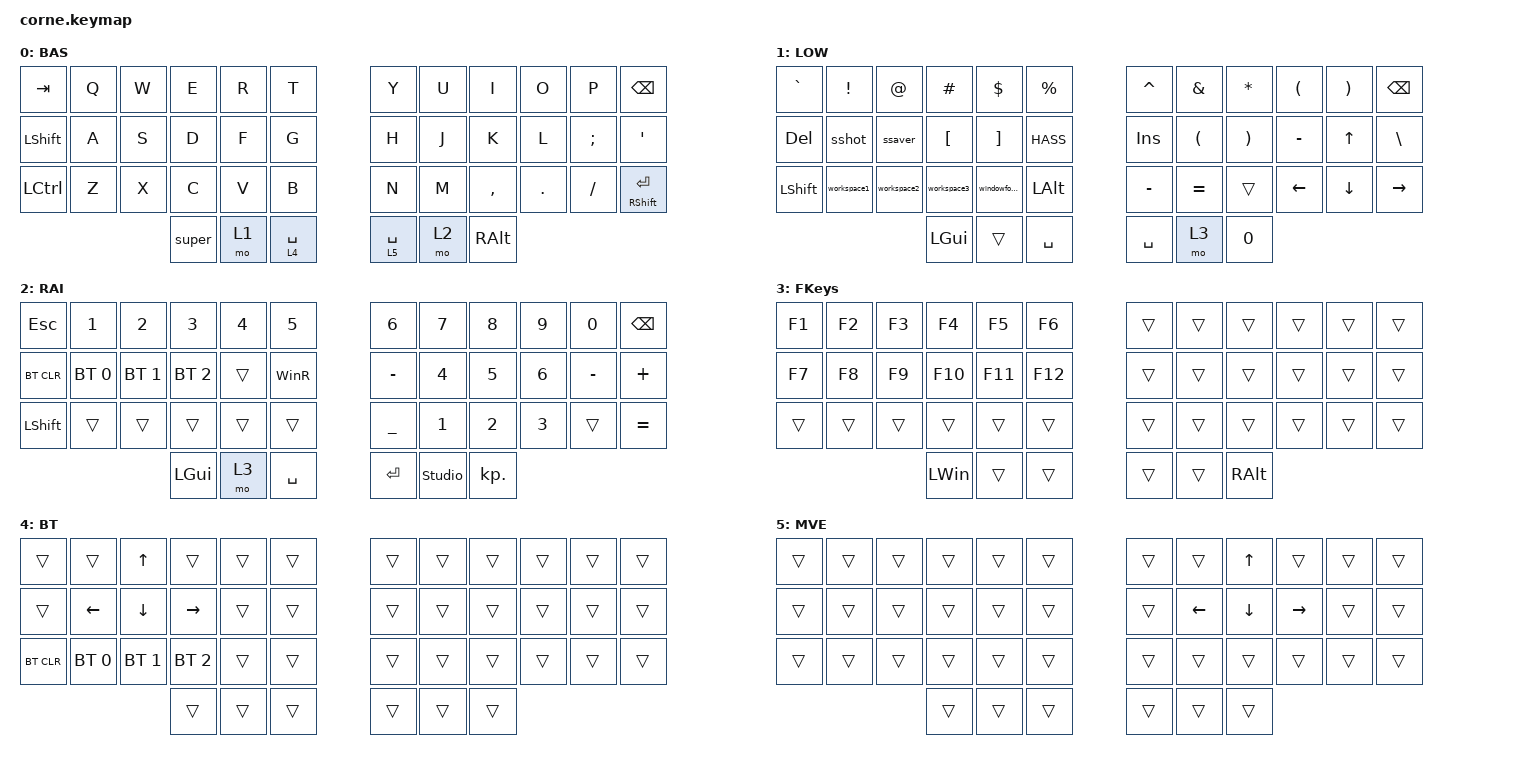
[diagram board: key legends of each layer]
/*
 * Copyright (c) 2020 The ZMK Contributors
 *
 * SPDX-License-Identifier: MIT
 */

#include <dt-bindings/zmk/reset.h>
#include <behaviors.dtsi>
#include <dt-bindings/zmk/bt.h>
#include <dt-bindings/zmk/keys.h>


/ {
    macros {
        super: super {
            compatible = "zmk,behavior-macro";
            #binding-cells = <0>;
            bindings =
                <&macro_press>,
                <&kp LCTRL &kp RIGHT_ALT>,
                <&macro_tap>,
                <&kp LEFT_BRACKET>,
                <&macro_release>,
                <&kp LCTRL &kp RIGHT_ALT>;

            label = "SUPER";
        };

        ssaver: ss {
            compatible = "zmk,behavior-macro";
            #binding-cells = <0>;
            bindings =
                <&macro_press>,
                <&kp LCTRL &kp RIGHT_ALT>,
                <&macro_tap>,
                <&kp S>,
                <&macro_release>,
                <&kp LCTRL &kp RIGHT_ALT>;

            label = "SS";
        };

        sshot: sshot {
            compatible = "zmk,behavior-macro";
            #binding-cells = <0>;
            bindings =
                <&macro_press>,
                <&kp LEFT_WIN &kp LEFT_SHIFT>,
                <&macro_tap>,
                <&kp S>,
                <&macro_release>,
                <&kp LEFT_WIN &kp LEFT_SHIFT>;

            label = "SSHOT";
        };

        workspace1: workspace1 {
            compatible = "zmk,behavior-macro";
            #binding-cells = <0>;
            bindings =
                <&macro_press>,
                <&kp RIGHT_ALT>,
                <&macro_tap>,
                <&kp NUMBER_1>,
                <&macro_release>,
                <&kp RIGHT_ALT>;

            label = "WORKSPACE1";
        };

        workspace2: workspace2 {
            compatible = "zmk,behavior-macro";
            #binding-cells = <0>;
            bindings =
                <&macro_press>,
                <&kp RIGHT_ALT>,
                <&macro_tap>,
                <&kp NUMBER_2>,
                <&macro_release>,
                <&kp RIGHT_ALT>;

            label = "WORKSPACE2";
        };

        workspace3: workspace3 {
            compatible = "zmk,behavior-macro";
            #binding-cells = <0>;
            bindings =
                <&macro_press>,
                <&kp RIGHT_ALT>,
                <&macro_tap>,
                <&kp NUMBER_3>,
                <&macro_release>,
                <&kp RIGHT_ALT>;

            label = "WORKSPACE3";
        };

        windowfocus: windowfocus {
            compatible = "zmk,behavior-macro";
            #binding-cells = <0>;
            bindings =
                <&macro_press>,
                <&kp RIGHT_ALT>,
                <&macro_tap>,
                <&kp T>,
                <&macro_release>,
                <&kp RIGHT_ALT>;

            label = "WINDOWFOCUS";
        };

        WinR: WinR {
            compatible = "zmk,behavior-macro";
            #binding-cells = <0>;
            bindings =
                <&macro_press>,
                <&kp LEFT_WIN>,
                <&macro_tap>,
                <&kp R>,
                <&macro_release>,
                <&kp LEFT_WIN>;

            label = "WINR";
        };

        HASS: HASS {
            compatible = "zmk,behavior-macro";
            #binding-cells = <0>;
            bindings =
                <&macro_press>,
                <&kp LCTRL &kp LEFT_ALT>,
                <&macro_tap>,
                <&kp X>,
                <&macro_release>,
                <&kp LCTRL &kp LEFT_ALT>;

            label = "HASS";
        };
    };

    keymap {
        compatible = "zmk,keymap";

        default_layer {
            display-name = "BAS";

            // -----------------------------------------------------------------------------------------
            // |  TAB |  Q  |  W  |  E  |  R  |  T  |   |  Y  |  U   |  I  |  O  |  P  | BKSP |
            // | CTRL |  A  |  S  |  D  |  F  |  G  |   |  H  |  J   |  K  |  L  |  ;  |  '   |
            // | SHFT |  Z  |  X  |  C  |  V  |  B  |   |  N  |  M   |  ,  |  .  |  /  | ESC  |
            //                    | GUI | LWR | SPC |   | ENT | RSE  | ALT |

            bindings = <
&kp TAB         &kp Q  &kp W  &kp E   &kp R  &kp T          &kp Y        &kp U  &kp I      &kp O    &kp P     &kp BSPC
&kp LEFT_SHIFT  &kp A  &kp S  &kp D   &kp F  &kp G          &kp H        &kp J  &kp K      &kp L    &kp SEMI  &kp SQT
&kp LCTRL       &kp Z  &kp X  &kp C   &kp V  &kp B          &kp N        &kp M  &kp COMMA  &kp DOT  &kp FSLH  &mt RIGHT_SHIFT ENTER
                              &super  &mo 1  &lt 4 SPACE    &lt 5 SPACE  &mo 2  &kp RALT
            >;
        };

        lower_layer {
            display-name = "LOW";

            // -----------------------------------------------------------------------------------------
            // |  TAB |  1  |  2  |  3  |  4  |  5  |   |  6  |  7  |  8  |  9  |  0  | BKSP |
            // | BTCLR| BT1 | BT2 | BT3 | BT4 | BT5 |   | LFT | DWN |  UP | RGT |     |      |
            // | SHFT |     |     |     |     |     |   |     |     |     |     |     |      |
            //                    | GUI |     | SPC |   | ENT |     | ALT |

            bindings = <
&kp GRAVE   &kp EXCLAMATION  &kp AT       &kp HASH          &kp DOLLAR         &kp PERCENT     &kp CARET   &kp AMPERSAND         &kp ASTERISK           &kp LEFT_PARENTHESIS  &kp RIGHT_PARENTHESIS  &kp BSPC
&kp DELETE  &sshot           &ssaver      &kp LEFT_BRACKET  &kp RIGHT_BRACKET  &HASS           &kp INSERT  &kp LEFT_PARENTHESIS  &kp RIGHT_PARENTHESIS  &kp MINUS             &kp UP_ARROW           &kp BACKSLASH
&kp LSHFT   &workspace1      &workspace2  &workspace3       &windowfocus       &kp LEFT_ALT    &kp MINUS   &kp EQUAL             &trans                 &kp LEFT_ARROW        &kp DOWN_ARROW         &kp RIGHT_ARROW
                                          &kp LGUI          &trans             &kp SPACE       &kp SPACE   &mo 3                 &kp NUMBER_0
            >;
        };

        raise_layer {
            display-name = "RAI";

            // -----------------------------------------------------------------------------------------
            // |  TAB |  !  |  @  |  #  |  $  |  %  |   |  ^  |  &  |  *  |  (  |  )  | BKSP |
            // | CTRL |     |     |     |     |     |   |  -  |  =  |  [  |  ]  |  \  |  `   |
            // | SHFT |     |     |     |     |     |   |  _  |  +  |  {  |  }  | "|" |  ~   |
            //                    | GUI |     | SPC |   | ENT |     | ALT |

            bindings = <
&kp ESCAPE      &kp NUMBER_1  &kp NUMBER_2  &kp NUMBER_3  &kp NUMBER_4  &kp NUMBER_5    &kp NUMBER_6  &kp NUMBER_7    &kp NUMBER_8  &kp NUMBER_9  &kp NUMBER_0  &kp BSPC
&bt BT_CLR      &bt BT_SEL 0  &bt BT_SEL 1  &bt BT_SEL 2  &trans        &WinR           &kp MINUS     &kp NUMBER_4    &kp NUMBER_5  &kp NUMBER_6  &kp MINUS     &kp PLUS
&kp LEFT_SHIFT  &trans        &trans        &trans        &trans        &trans          &kp UNDER     &kp NUMBER_1    &kp NUMBER_2  &kp NUMBER_3  &trans        &kp EQUAL
                                            &kp LGUI      &mo 3         &kp SPACE       &kp RET       &studio_unlock  &kp KP_DOT
            >;
        };

        FKeys {
            bindings = <
&kp F1  &kp F2  &kp F3  &kp F4        &kp F5   &kp F6     &trans  &trans  &trans         &trans  &trans  &trans
&kp F7  &kp F8  &kp F9  &kp F10       &kp F11  &kp F12    &trans  &trans  &trans         &trans  &trans  &trans
&trans  &trans  &trans  &trans        &trans   &trans     &trans  &trans  &trans         &trans  &trans  &trans
                        &kp LEFT_WIN  &trans   &trans     &trans  &trans  &kp RIGHT_ALT
            >;
        };

        BT {
            bindings = <
&trans      &trans          &kp UP_ARROW    &trans           &trans  &trans    &trans  &trans  &trans  &trans  &trans  &trans
&trans      &kp LEFT_ARROW  &kp DOWN_ARROW  &kp RIGHT_ARROW  &trans  &trans    &trans  &trans  &trans  &trans  &trans  &trans
&bt BT_CLR  &bt BT_SEL 0    &bt BT_SEL 1    &bt BT_SEL 2     &trans  &trans    &trans  &trans  &trans  &trans  &trans  &trans
                                            &trans           &trans  &trans    &trans  &trans  &trans
            >;
        };

        MVE {
            bindings = <
&trans  &trans  &trans  &trans  &trans  &trans    &trans  &trans          &kp UP_ARROW    &trans           &trans  &trans
&trans  &trans  &trans  &trans  &trans  &trans    &trans  &kp LEFT_ARROW  &kp DOWN_ARROW  &kp RIGHT_ARROW  &trans  &trans
&trans  &trans  &trans  &trans  &trans  &trans    &trans  &trans          &trans          &trans           &trans  &trans
                        &trans  &trans  &trans    &trans  &trans          &trans
            >;
        };
    };
};

#ifdef CONFIG_ZMK_DISPLAY
&nice_view_spi {
    cs-gpios = <&pro_micro 16 GPIO_ACTIVE_HIGH>;
};
#endif
